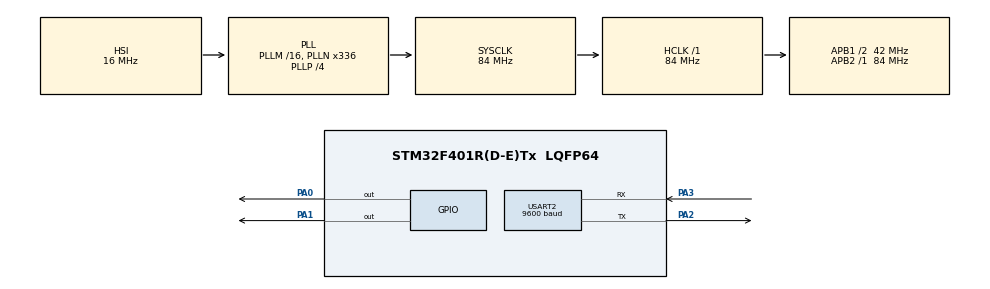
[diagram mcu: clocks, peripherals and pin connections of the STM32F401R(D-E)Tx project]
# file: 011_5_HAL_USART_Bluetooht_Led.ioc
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Mcu.Family=STM32F4
Mcu.Name=STM32F401R(D-E)Tx
Mcu.Package=LQFP64
NVIC.PriorityGroup=NVIC_PRIORITYGROUP_0
PA0-WKUP.GPIO_Speed=GPIO_SPEED_FREQ_VERY_HIGH
PA0-WKUP.Signal=GPIO_Output
PA1.GPIO_Speed=GPIO_SPEED_FREQ_VERY_HIGH
PA1.Signal=GPIO_Output
PA2.Mode=Asynchronous
PA2.Signal=USART2_TX
PA3.Mode=Asynchronous
PA3.Signal=USART2_RX
ProjectManager.HeapSize=0x200
ProjectManager.StackSize=0x400
ProjectManager.TargetToolchain=STM32CubeIDE
RCC.48MHZClocksFreq_Value=48000000
RCC.AHBFreq_Value=84000000
RCC.APB1CLKDivider=RCC_HCLK_DIV2
RCC.APB1Freq_Value=42000000
RCC.APB1TimFreq_Value=84000000
RCC.APB2Freq_Value=84000000
RCC.APB2TimFreq_Value=84000000
RCC.CortexFreq_Value=84000000
RCC.HCLKFreq_Value=84000000
RCC.HSE_VALUE=8000000
RCC.HSI_VALUE=16000000
RCC.LSE_VALUE=32768
RCC.PLLN=336
RCC.PLLP=RCC_PLLP_DIV4
RCC.PLLQ=7
RCC.SYSCLKFreq_VALUE=84000000
RCC.SYSCLKSource=RCC_SYSCLKSOURCE_PLLCLK
RCC.VCOOutputFreq_Value=336000000
USART2.BaudRate=9600
USART2.VirtualMode=VM_ASYNC
board=NUCLEO-F401RE

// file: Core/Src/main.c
/* USER CODE BEGIN Header */
/**
  ******************************************************************************
  * @file           : main.c
  * @brief          : Main program body
  ******************************************************************************
  * @attention
  *
  * Copyright (c) 2023 STMicroelectronics.
  * All rights reserved.
  *
  * This software is licensed under terms that can be found in the LICENSE file
  * in the root directory of this software component.
  * If no LICENSE file comes with this software, it is provided AS-IS.
  *
  ******************************************************************************
  */
/* USER CODE END Header */
#include "main.h"

/* USER CODE BEGIN Includes */
#include "stdbool.h"
#include "stdio.h"
/* USER CODE END Includes */

UART_HandleTypeDef huart2;

/* USER CODE BEGIN PV */
char rx_buffer[50];
char tx_buffer[50];
enum ledstates {ON,OFF,MOD1};
enum ledstates led_state=OFF;
/* USER CODE END PV */

void SystemClock_Config(void);
static void MX_GPIO_Init(void);
static void MX_USART2_UART_Init(void);

int main(void)
{

  /* MCU Configuration--------------------------------------------------------*/

  /* Reset of all peripherals, Initializes the Flash interface and the Systick. */
  HAL_Init();

  /* Configure the system clock */
  SystemClock_Config();

  /* Initialize all configured peripherals */
  MX_GPIO_Init();
  MX_USART2_UART_Init();

  /* Infinite loop */
  while (1)
  {

    /* USER CODE BEGIN 3 */
	  HAL_UART_Receive(&huart2, (uint8_t *)rx_buffer,50,100);

	  if(rx_buffer[0] == 'L' && rx_buffer[1] == 'E' && rx_buffer[2] == 'D' && rx_buffer[3] == ' ' &&
		 rx_buffer[4] == 'O' && rx_buffer[5] == 'N' )
	  {
		   HAL_GPIO_WritePin(GPIOA, GPIO_PIN_0|GPIO_PIN_1, SET);
		   if(led_state != ON)
		   {
			   HAL_UART_Transmit(&huart2, (uint8_t *)tx_buffer,sprintf(tx_buffer,"LEDS LIGHT UP\n"),100);

		   }
		   led_state=ON;
	  }
	  else if(rx_buffer[0] == 'L' && rx_buffer[1] == 'E' && rx_buffer[2] == 'D' && rx_buffer[3] == ' ' &&
		 rx_buffer[4] == 'O' && rx_buffer[5] == 'F' && rx_buffer[6] == 'F')
	  {
		   HAL_GPIO_WritePin(GPIOA, GPIO_PIN_0|GPIO_PIN_1, RESET);
		   if(led_state != OFF)
		   {
			   HAL_UART_Transmit(&huart2, (uint8_t *)tx_buffer,sprintf(tx_buffer,"LEDS TURNED OFF\n"),100);

		   }
		   led_state=OFF;
	  }
	  else if(rx_buffer[0] == 'M' && rx_buffer[1] == 'O' && rx_buffer[2] == 'D' && rx_buffer[3] == ' ' &&
		 rx_buffer[4] == 'T' && rx_buffer[5] == 'O' && rx_buffer[6] == 'G')
	  {
		   HAL_GPIO_TogglePin(GPIOA, GPIO_PIN_0|GPIO_PIN_1);
		   HAL_Delay(100);
		   if(led_state != MOD1)
		   {
			   HAL_UART_Transmit(&huart2, (uint8_t *)tx_buffer,sprintf(tx_buffer,"TOGGLE MOD ENABLED\n"),100);

		   }
		   led_state=MOD1;
	  }

  }
  /* USER CODE END 3 */
}

void SystemClock_Config(void)
{
  RCC_OscInitTypeDef RCC_OscInitStruct = {0};
  RCC_ClkInitTypeDef RCC_ClkInitStruct = {0};

  /** Configure the main internal regulator output voltage
  */
  __HAL_RCC_PWR_CLK_ENABLE();
  __HAL_PWR_VOLTAGESCALING_CONFIG(PWR_REGULATOR_VOLTAGE_SCALE2);

  /** Initializes the RCC Oscillators according to the specified parameters
  * in the RCC_OscInitTypeDef structure.
  */
  RCC_OscInitStruct.OscillatorType = RCC_OSCILLATORTYPE_HSI;
  RCC_OscInitStruct.HSIState = RCC_HSI_ON;
  RCC_OscInitStruct.HSICalibrationValue = RCC_HSICALIBRATION_DEFAULT;
  RCC_OscInitStruct.PLL.PLLState = RCC_PLL_ON;
  RCC_OscInitStruct.PLL.PLLSource = RCC_PLLSOURCE_HSI;
  RCC_OscInitStruct.PLL.PLLM = 16;
  RCC_OscInitStruct.PLL.PLLN = 336;
  RCC_OscInitStruct.PLL.PLLP = RCC_PLLP_DIV4;
  RCC_OscInitStruct.PLL.PLLQ = 7;
  if (HAL_RCC_OscConfig(&RCC_OscInitStruct) != HAL_OK)
  {
    Error_Handler();
  }

  /** Initializes the CPU, AHB and APB buses clocks
  */
  RCC_ClkInitStruct.ClockType = RCC_CLOCKTYPE_HCLK|RCC_CLOCKTYPE_SYSCLK
                              |RCC_CLOCKTYPE_PCLK1|RCC_CLOCKTYPE_PCLK2;
  RCC_ClkInitStruct.SYSCLKSource = RCC_SYSCLKSOURCE_PLLCLK;
  RCC_ClkInitStruct.AHBCLKDivider = RCC_SYSCLK_DIV1;
  RCC_ClkInitStruct.APB1CLKDivider = RCC_HCLK_DIV2;
  RCC_ClkInitStruct.APB2CLKDivider = RCC_HCLK_DIV1;

  if (HAL_RCC_ClockConfig(&RCC_ClkInitStruct, FLASH_LATENCY_2) != HAL_OK)
  {
    Error_Handler();
  }
}

static void MX_USART2_UART_Init(void)
{

  huart2.Instance = USART2;
  huart2.Init.BaudRate = 9600;
  huart2.Init.WordLength = UART_WORDLENGTH_8B;
  huart2.Init.StopBits = UART_STOPBITS_1;
  huart2.Init.Parity = UART_PARITY_NONE;
  huart2.Init.Mode = UART_MODE_TX_RX;
  huart2.Init.HwFlowCtl = UART_HWCONTROL_NONE;
  huart2.Init.OverSampling = UART_OVERSAMPLING_16;
  if (HAL_UART_Init(&huart2) != HAL_OK)
  {
    Error_Handler();
  }

}

static void MX_GPIO_Init(void)
{
  GPIO_InitTypeDef GPIO_InitStruct = {0};

  /* GPIO Ports Clock Enable */
  __HAL_RCC_GPIOA_CLK_ENABLE();

  /*Configure GPIO pin Output Level */
  HAL_GPIO_WritePin(GPIOA, GPIO_PIN_0|GPIO_PIN_1, GPIO_PIN_RESET);

  /*Configure GPIO pins : PA0 PA1 */
  GPIO_InitStruct.Pin = GPIO_PIN_0|GPIO_PIN_1;
  GPIO_InitStruct.Mode = GPIO_MODE_OUTPUT_PP;
  GPIO_InitStruct.Pull = GPIO_NOPULL;
  GPIO_InitStruct.Speed = GPIO_SPEED_FREQ_VERY_HIGH;
  HAL_GPIO_Init(GPIOA, &GPIO_InitStruct);

}

void Error_Handler(void)
{
  __disable_irq();
  while (1)
  {
  }
}
